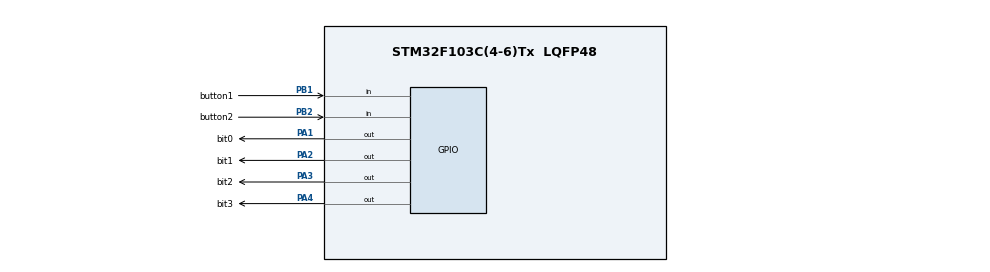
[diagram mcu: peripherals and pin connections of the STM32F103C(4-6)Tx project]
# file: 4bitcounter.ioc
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Mcu.Family=STM32F1
Mcu.Name=STM32F103C(4-6)Tx
Mcu.Package=LQFP48
NVIC.PriorityGroup=NVIC_PRIORITYGROUP_4
PA1.GPIO_Label=bit0
PA1.Signal=GPIO_Output
PA2.GPIO_Label=bit1
PA2.Signal=GPIO_Output
PA3.GPIO_Label=bit2
PA3.Signal=GPIO_Output
PA4.GPIO_Label=bit3
PA4.Signal=GPIO_Output
PB1.GPIO_Label=button1
PB1.GPIO_PuPd=GPIO_PULLDOWN
PB1.Signal=GPIO_Input
PB2.GPIO_Label=button2
PB2.Signal=GPIO_Input
ProjectManager.HeapSize=0x200
ProjectManager.StackSize=0x400
ProjectManager.TargetToolchain=MDK-ARM V5.32
RCC.APB1Freq_Value=8000000
RCC.APB2Freq_Value=8000000
VP_SYS_VS_ND.Mode=No_Debug
board=custom

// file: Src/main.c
/* USER CODE BEGIN Header */
/**
  ******************************************************************************
  * @file           : main.c
  * @brief          : Main program body
  ******************************************************************************
  * @attention
  *
  * Copyright (c) 2023 STMicroelectronics.
  * All rights reserved.
  *
  * This software is licensed under terms that can be found in the LICENSE file
  * in the root directory of this software component.
  * If no LICENSE file comes with this software, it is provided AS-IS.
  *
  ******************************************************************************
  */
/* USER CODE END Header */
#include "main.h"

void SystemClock_Config(void);
static void MX_GPIO_Init(void);

int main(void)
{

  /* MCU Configuration--------------------------------------------------------*/

  /* Reset of all peripherals, Initializes the Flash interface and the Systick. */
  HAL_Init();

  /* Configure the system clock */
  SystemClock_Config();

  /* Initialize all configured peripherals */
  MX_GPIO_Init();

  /* Infinite loop */
  /* USER CODE BEGIN WHILE */
	GPIO_PinState button1_value = GPIO_PIN_RESET;
	GPIO_PinState button2_value = GPIO_PIN_RESET;

	GPIO_PinState last_button1_value = GPIO_PIN_RESET;
	GPIO_PinState last_button2_value = GPIO_PIN_RESET;

  uint16_t num_press = 0;

  while (1)
  {
		//read button value
		last_button2_value = button2_value;
		last_button1_value = button1_value;
		button1_value = HAL_GPIO_ReadPin(button1_GPIO_Port, button1_Pin);
		button2_value = HAL_GPIO_ReadPin(button2_GPIO_Port, button2_Pin);
		if(button2_value == GPIO_PIN_SET){
			bit0_GPIO_Port->BSRR = bit0_Pin << 16u | bit1_Pin << 16u | bit2_Pin << 16u | bit3_Pin << 16u ;
			num_press = 0;
			continue;
		}

		last_button2_value = button2_value;

		//check the button condition
		if(button1_value == GPIO_PIN_SET){
			HAL_Delay(1000);
			while(1){
				button2_value = HAL_GPIO_ReadPin(button2_GPIO_Port, button2_Pin);
				if(button2_value == GPIO_PIN_SET){
			bit0_GPIO_Port->BSRR = bit0_Pin << 16u | bit1_Pin << 16u | bit2_Pin << 16u | bit3_Pin << 16u ;
			num_press = 0;
			continue;
		}
			button1_value = HAL_GPIO_ReadPin(button1_GPIO_Port, button1_Pin);
				if(button1_value == GPIO_PIN_SET){
					HAL_Delay(1000);
					break;
				}
			}

		}

		//when button is pressed
		last_button1_value = button1_value;

		//increase the num_press
		HAL_Delay(300);
		num_press++;

		GPIO_PinState bit0_value, bit1_value, bit2_value, bit3_value;

		bit0_value = (num_press & (uint16_t)1) ? GPIO_PIN_SET : GPIO_PIN_RESET;
		bit1_value = (num_press & (uint16_t)2) ? GPIO_PIN_SET : GPIO_PIN_RESET;
		bit2_value = (num_press & (uint16_t)4) ? GPIO_PIN_SET : GPIO_PIN_RESET;
		bit3_value = (num_press & (uint16_t)8) ? GPIO_PIN_SET : GPIO_PIN_RESET;

		bit0_GPIO_Port->BSRR = (bit0_value ? bit0_Pin : (bit0_Pin << 16u)) | (bit1_value ? bit1_Pin : (bit1_Pin << 16u)) | (bit2_value ? bit2_Pin : (bit2_Pin << 16u)) | (bit3_value ? bit3_Pin : (bit3_Pin << 16u));

    /* USER CODE END WHILE */

  }
}

void SystemClock_Config(void)
{
  RCC_OscInitTypeDef RCC_OscInitStruct = {0};
  RCC_ClkInitTypeDef RCC_ClkInitStruct = {0};

  /** Initializes the RCC Oscillators according to the specified parameters
  * in the RCC_OscInitTypeDef structure.
  */
  RCC_OscInitStruct.OscillatorType = RCC_OSCILLATORTYPE_HSI;
  RCC_OscInitStruct.HSIState = RCC_HSI_ON;
  RCC_OscInitStruct.HSICalibrationValue = RCC_HSICALIBRATION_DEFAULT;
  RCC_OscInitStruct.PLL.PLLState = RCC_PLL_NONE;
  if (HAL_RCC_OscConfig(&RCC_OscInitStruct) != HAL_OK)
  {
    Error_Handler();
  }

  /** Initializes the CPU, AHB and APB buses clocks
  */
  RCC_ClkInitStruct.ClockType = RCC_CLOCKTYPE_HCLK|RCC_CLOCKTYPE_SYSCLK
                              |RCC_CLOCKTYPE_PCLK1|RCC_CLOCKTYPE_PCLK2;
  RCC_ClkInitStruct.SYSCLKSource = RCC_SYSCLKSOURCE_HSI;
  RCC_ClkInitStruct.AHBCLKDivider = RCC_SYSCLK_DIV1;
  RCC_ClkInitStruct.APB1CLKDivider = RCC_HCLK_DIV1;
  RCC_ClkInitStruct.APB2CLKDivider = RCC_HCLK_DIV1;

  if (HAL_RCC_ClockConfig(&RCC_ClkInitStruct, FLASH_LATENCY_0) != HAL_OK)
  {
    Error_Handler();
  }
}

static void MX_GPIO_Init(void)
{
  GPIO_InitTypeDef GPIO_InitStruct = {0};

  /* GPIO Ports Clock Enable */
  __HAL_RCC_GPIOA_CLK_ENABLE();
  __HAL_RCC_GPIOB_CLK_ENABLE();

  /*Configure GPIO pin Output Level */
  HAL_GPIO_WritePin(GPIOA, bit0_Pin|bit1_Pin|bit2_Pin|bit3_Pin, GPIO_PIN_RESET);

  /*Configure GPIO pins : bit0_Pin bit1_Pin bit2_Pin bit3_Pin */
  GPIO_InitStruct.Pin = bit0_Pin|bit1_Pin|bit2_Pin|bit3_Pin;
  GPIO_InitStruct.Mode = GPIO_MODE_OUTPUT_PP;
  GPIO_InitStruct.Pull = GPIO_NOPULL;
  GPIO_InitStruct.Speed = GPIO_SPEED_FREQ_LOW;
  HAL_GPIO_Init(GPIOA, &GPIO_InitStruct);

  /*Configure GPIO pin : button1_Pin */
  GPIO_InitStruct.Pin = button1_Pin;
  GPIO_InitStruct.Mode = GPIO_MODE_INPUT;
  GPIO_InitStruct.Pull = GPIO_PULLDOWN;
  HAL_GPIO_Init(button1_GPIO_Port, &GPIO_InitStruct);

  /*Configure GPIO pin : button2_Pin */
  GPIO_InitStruct.Pin = button2_Pin;
  GPIO_InitStruct.Mode = GPIO_MODE_INPUT;
  GPIO_InitStruct.Pull = GPIO_NOPULL;
  HAL_GPIO_Init(button2_GPIO_Port, &GPIO_InitStruct);

}

void Error_Handler(void)
{
  __disable_irq();
  while (1)
  {
  }
}
